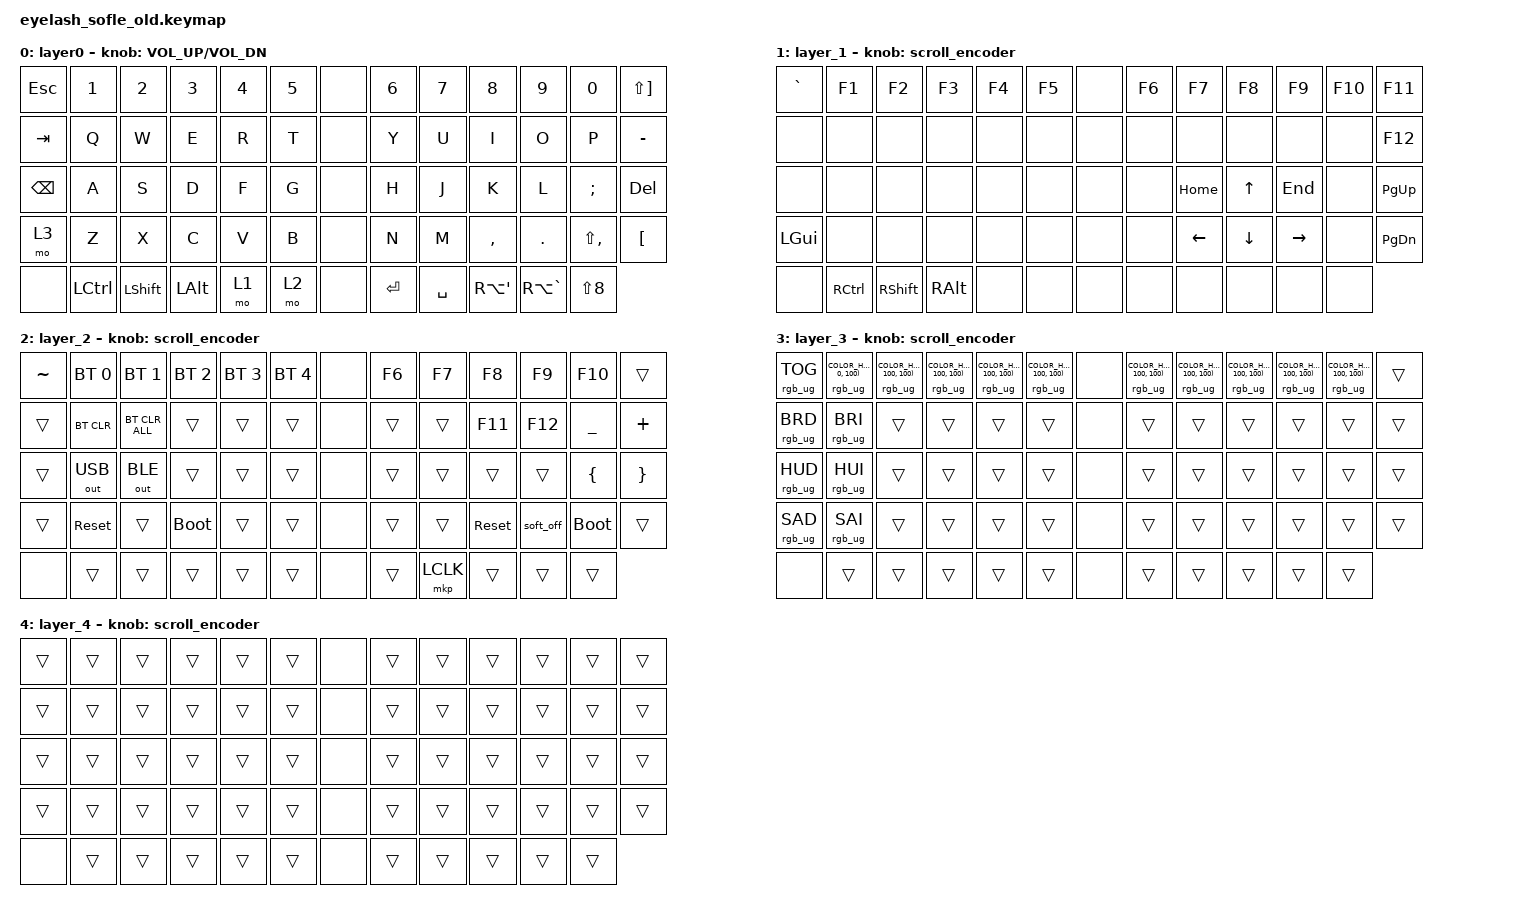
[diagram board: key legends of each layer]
#define ZMK_POINTING_DEFAULT_MOVE_VAL 1200
#define ZMK_POINTING_DEFAULT_SCRL_VAL 25

#include <input/processors.dtsi>
#include <zephyr/dt-bindings/input/input-event-codes.h>
#include <behaviors.dtsi>
#include <dt-bindings/zmk/bt.h>
#include <dt-bindings/zmk/keys.h>
#include <dt-bindings/zmk/outputs.h>
#include <dt-bindings/zmk/pointing.h>
#include <dt-bindings/zmk/rgb.h>

&mmv_input_listener { input-processors = <&zip_xy_scaler 2 1>; };
&msc_input_listener { input-processors = <&zip_scroll_scaler 2 1>; };

&msc {
    acceleration-exponent = <1>;
    time-to-max-speed-ms = <100>;
    delay-ms = <0>;
};

&mmv {
    time-to-max-speed-ms = <500>;
    acceleration-exponent = <1>;
    trigger-period-ms = <16>;
};

&soft_off { hold-time-ms = <2000>; };

/ {
    // NOTA: Esta exportación incluye todas las secciones necesarias:
    // - Configuración de pointing y soft_off
    // - Scroll encoder behaviors
    // - Combos (softoff)
    // - Macros (SHIFT_MCLK)
    // - Controles RGB manuales en Layer 1
    // NO eliminar ninguna sección al importar/exportar
    scroll_encoder: scroll_encoder {
        compatible = "zmk,behavior-sensor-rotate";
        #sensor-binding-cells = <0>;
        bindings = <&msc SCRL_DOWN>, <&msc SCRL_UP>;
        tap-ms = <100>;
    };

    behaviors {
    };

    combos {
        compatible = "zmk,combos";
        softoff {
            bindings = <&soft_off>;
            key-positions = <14 28 40>;
        };
    };

    macros {
        SHIFT_MCLK: SHIFT_MCLK {
            compatible = "zmk,behavior-macro";
            #binding-cells = <0>;
            bindings =
                <&macro_press>,
                <&kp LEFT_SHIFT>,
                <&macro_press>,
                <&mkp MB3>,
                <&macro_pause_for_release>,
                <&macro_release>,
                <&kp LEFT_SHIFT &mkp MB3>;
            label = "SHIFT_MCLK";
        };
    };

    keymap {
        compatible = "zmk,keymap";

        layer0 {
            bindings = <
                &kp ESC  &kp N1  &kp N2  &kp N3  &kp N4  &kp N5  &none  &kp N6  &kp N7  &kp N8  &kp N9  &kp N0  &kp LS(RBKT)
                &kp TAB  &kp Q  &kp W  &kp E  &kp R  &kp T  &none  &kp Y  &kp U  &kp I  &kp O  &kp P  &kp MINUS
                &kp BSPC  &kp A  &kp S  &kp D  &kp F  &kp G  &none  &kp H  &kp J  &kp K  &kp L  &kp SEMI  &kp DEL
                &mo 3  &kp Z  &kp X  &kp C  &kp V  &kp B  &none  &kp N  &kp M  &kp COMMA  &kp DOT  &kp LS(COMMA)  &kp LBKT
                &none  &kp LCTRL  &kp LSHFT  &kp LALT  &mo 1  &mo 2  &none  &kp ENTER  &kp SPACE  &kp RA(APOS)  &kp RA(GRAVE)  &kp LS(N8)
            >;
            sensor-bindings = <&inc_dec_kp C_VOL_UP C_VOL_DN>;
            //Joystick: UP=&kp UP_ARROW DOWN=&kp DOWN_ARROW LEFT=&kp LEFT_ARROW RIGHT=&kp RIGHT_ARROW CLICK=&mkp LCLK
        };

        layer_1 {
            bindings = <
                &kp GRAVE  &kp F1  &kp F2  &kp F3  &kp F4  &kp F5  &none  &kp F6  &kp F7  &kp F8  &kp F9  &kp F10  &kp F11
                &none  &none  &none  &none  &none  &none  &none  &none  &none  &none  &none  &none  &kp F12
                &none  &none  &none  &none  &none  &none  &none  &none  &kp HOME  &kp UP  &kp END  &none  &kp PG_UP
                &kp LGUI  &none  &none  &none  &none  &none  &none  &none  &kp LEFT  &kp DOWN  &kp RIGHT  &none  &kp PG_DN
                &none  &kp RCTRL  &kp RSHFT  &kp RALT  &none  &none  &none  &none  &none  &none  &none  &none
            >;
            sensor-bindings = <&scroll_encoder>;
            // Joystick: UP=&mmv MOVE_UP DOWN=&mmv MOVE_DOWN LEFT=&mmv MOVE_LEFT RIGHT=&mmv MOVE_RIGHT CLICK=&mkp LCLK
        };

        layer_2 {
            bindings = <
                &kp TILDE  &bt BT_SEL 0  &bt BT_SEL 1  &bt BT_SEL 2  &bt BT_SEL 3  &bt BT_SEL 4  &none  &kp F6  &kp F7  &kp F8  &kp F9  &kp F10  &trans
                &trans  &bt BT_CLR  &bt BT_CLR_ALL  &trans  &trans  &trans  &none  &trans  &trans  &kp F11  &kp F12  &kp UNDER  &kp PLUS
                &trans  &out OUT_USB  &out OUT_BLE  &trans  &trans  &trans  &none  &trans  &trans  &trans  &trans  &kp LBRC  &kp RBRC
                &trans  &sys_reset  &trans  &bootloader  &trans  &trans  &none  &trans  &trans  &sys_reset  &soft_off  &bootloader  &trans
                &none  &trans  &trans  &trans  &trans  &trans  &none  &trans  &mkp LCLK  &trans  &trans  &trans
            >;
            sensor-bindings = <&scroll_encoder>;
            // Joystick: UP=&mmv MOVE_UP DOWN=&mmv MOVE_DOWN LEFT=&mmv MOVE_LEFT RIGHT=&mmv MOVE_RIGHT CLICK=&mkp LCLK
        };

        layer_3 {
            bindings = <
                &rgb_ug RGB_TOG  &rgb_ug RGB_COLOR_HSV(0, 0, 100)  &rgb_ug RGB_COLOR_HSV(30, 100, 100)  &rgb_ug RGB_COLOR_HSV(270, 100, 100)  &rgb_ug RGB_COLOR_HSV(180, 100, 100)  &rgb_ug RGB_COLOR_HSV(300, 100, 100)  &none  &rgb_ug RGB_COLOR_HSV(60, 100, 100)  &rgb_ug RGB_COLOR_HSV(240, 100, 100)  &rgb_ug RGB_COLOR_HSV(120, 100, 100)  &rgb_ug RGB_COLOR_HSV(0, 100, 100)  &rgb_ug RGB_COLOR_HSV(330, 100, 100)  &trans
                &rgb_ug RGB_BRD  &rgb_ug RGB_BRI  &trans  &trans  &trans  &trans  &none  &trans  &trans  &trans  &trans  &trans  &trans
                &rgb_ug RGB_HUD  &rgb_ug RGB_HUI  &trans  &trans  &trans  &trans  &none  &trans  &trans  &trans  &trans  &trans  &trans
                &rgb_ug RGB_SAD  &rgb_ug RGB_SAI  &trans  &trans  &trans  &trans  &none  &trans  &trans  &trans  &trans  &trans  &trans
                &none  &trans  &trans  &trans  &trans  &trans  &none  &trans  &trans  &trans  &trans  &trans
            >;
            sensor-bindings = <&scroll_encoder>;
            // Joystick: UP=&mmv MOVE_UP DOWN=&mmv MOVE_DOWN LEFT=&mmv MOVE_LEFT RIGHT=&mmv MOVE_RIGHT CLICK=&mkp LCLK
        };

        layer_4 {
            bindings = <
                &trans  &trans  &trans  &trans  &trans  &trans  &none  &trans  &trans  &trans  &trans  &trans  &trans
                &trans  &trans  &trans  &trans  &trans  &trans  &none  &trans  &trans  &trans  &trans  &trans  &trans
                &trans  &trans  &trans  &trans  &trans  &trans  &none  &trans  &trans  &trans  &trans  &trans  &trans
                &trans  &trans  &trans  &trans  &trans  &trans  &none  &trans  &trans  &trans  &trans  &trans  &trans
                &none  &trans  &trans  &trans  &trans  &trans  &none  &trans  &trans  &trans  &trans  &trans
            >;
            sensor-bindings = <&scroll_encoder>;
            // Joystick: UP=&mmv MOVE_UP DOWN=&mmv MOVE_DOWN LEFT=&mmv MOVE_LEFT RIGHT=&mmv MOVE_RIGHT CLICK=&mkp LCLK
        };

    };
};
